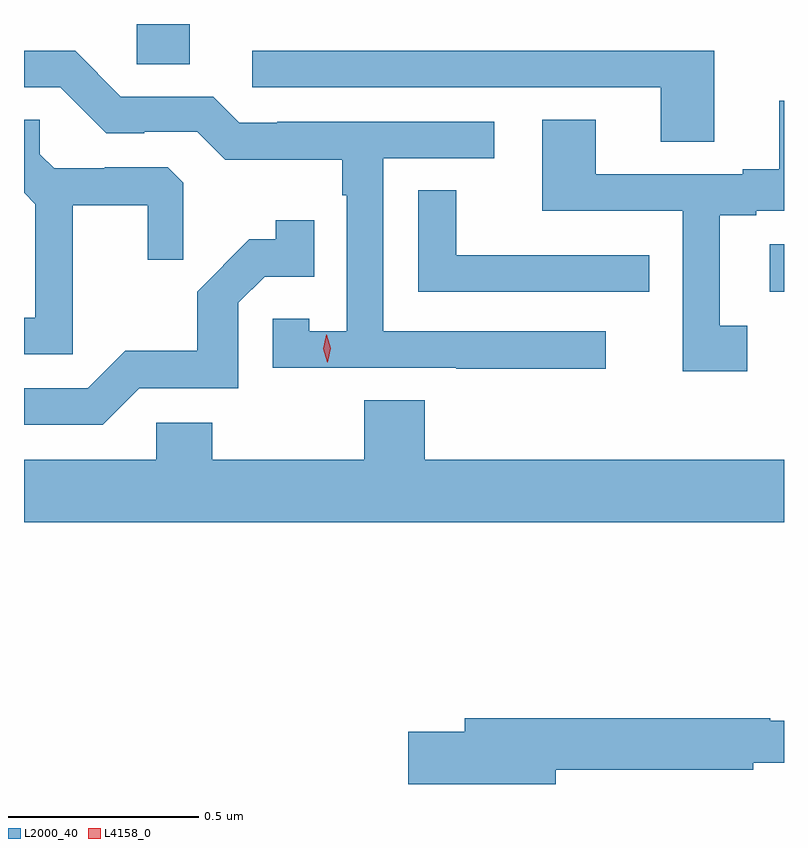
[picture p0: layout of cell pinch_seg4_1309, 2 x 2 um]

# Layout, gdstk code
import gdstk
lib = gdstk.Library(unit=1e-6, precision=1e-09)
def R(c, l, rs):  # rectangles x0, y0, x1, y1
    for r in rs: c.add(gdstk.rectangle(r[:2], r[2:], *l))
def P(c, l, *ps):  # polygons
    for p in ps: c.add(gdstk.Polygon(p, *l))
L2000_40 = (2000, 40)
L4158_0 = (4158, 0)

pinch_seg4_1309 = lib.new_cell('pinch_seg4_1309')
R(pinch_seg4_1309, L2000_40, [(380.739,788.103,380.777,788.227), (379.074,788.701,379.213,788.807)])
P(pinch_seg4_1309, L2000_40, [(380.593,788.736),(379.377,788.736),(379.377,788.64),(380.453,788.64),(380.453,788.497),(380.593,788.497)],
  [(380.308,787.998),(379.722,787.998),(379.722,788.454),(380.014,788.454),(380.014,788.55),(379.444,788.55),(379.444,788.547),(379.344,788.547),(379.275,788.616),(379.032,788.616),(378.912,788.736),(378.777,788.736),(378.777,788.64),(378.873,788.64),(378.993,788.52),(379.094,788.52),(379.094,788.523),(379.233,788.523),(379.306,788.45),(379.614,788.45),(379.614,788.357),(379.626,788.357),(379.626,787.999),(379.527,787.999),(379.527,788.031),(379.431,788.031),(379.431,787.902),(379.915,787.902),(379.915,787.9),(380.308,787.9)],
  [(380.68,788.013),(380.608,788.013),(380.608,788.304),(380.704,788.304),(380.704,788.316),(380.777,788.316),(380.777,788.605),(380.765,788.605),(380.765,788.425),(380.669,788.425),(380.669,788.412),(380.281,788.412),(380.281,788.555),(380.141,788.555),(380.141,788.316),(380.511,788.316),(380.511,787.893),(380.68,787.893)],
  [(378.905,788.33),(379.102,788.33),(379.102,788.187),(379.196,788.187),(379.196,788.389),(379.155,788.43),(378.99,788.43),(378.99,788.427),(378.856,788.427),(378.819,788.464),(378.819,788.555),(378.777,788.555),(378.777,788.363),(378.807,788.333),(378.807,788.034),(378.777,788.034),(378.777,787.938),(378.905,787.938)],
  [(380.422,788.198),(380.309,788.198),(380.309,788.199),(379.914,788.199),(379.914,788.369),(379.815,788.369),(379.815,788.103),(380.422,788.103)],
  [(379.08,787.848),(379.341,787.848),(379.341,788.073),(379.41,788.142),(379.541,788.142),(379.541,788.29),(379.44,788.29),(379.44,788.24),(379.37,788.24),(379.233,788.102),(379.233,787.947),(379.044,787.947),(378.945,787.848),(378.777,787.848),(378.777,787.752),(378.984,787.752)],
  [(380.777,787.66),(379.832,787.66),(379.832,787.817),(379.672,787.817),(379.672,787.66),(379.272,787.66),(379.272,787.758),(379.125,787.758),(379.125,787.66),(378.777,787.66),(378.777,787.496),(380.777,787.496)],
  [(380.176,786.844),(380.696,786.844),(380.696,786.863),(380.777,786.863),(380.777,786.973),(380.741,786.973),(380.741,786.98),(379.937,786.98),(379.937,786.944),(379.788,786.944),(379.788,786.807),(380.176,786.807)])
P(pinch_seg4_1309, L4158_0, [(379.575,787.917),(379.575,787.917),(379.564,787.953),(379.573,787.989),(379.574,787.989),(379.574,787.989),(379.584,787.954),(379.576,787.917)])

lib.write_gds('pinch_seg4_1309.gds')
